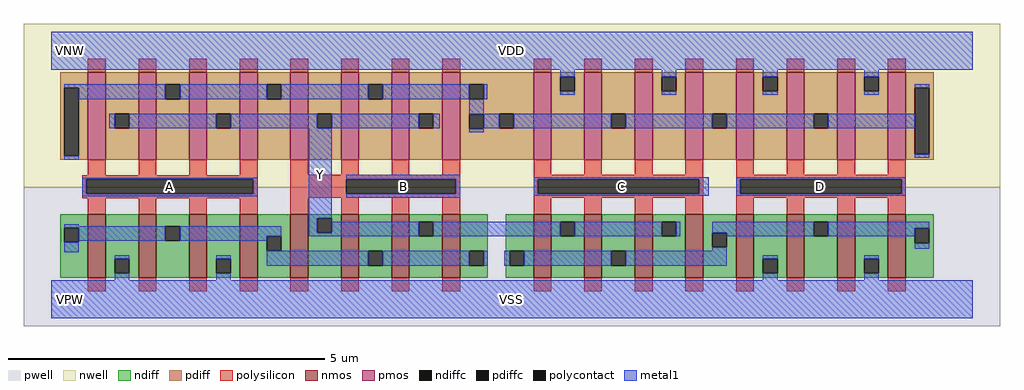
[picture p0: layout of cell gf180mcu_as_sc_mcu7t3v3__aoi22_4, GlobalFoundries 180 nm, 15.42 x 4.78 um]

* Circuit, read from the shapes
.subckt gf180mcu_as_sc_mcu7t3v3__aoi22_4 VDD VNW VPW VSS Y A B C D
XM1 VSS A n1 VPW nfet_03v3 w=1u l=0.28u m=4
XM2 Y B n1 VPW nfet_03v3 w=1u l=0.28u m=4
XM3 Y C n2 VPW nfet_03v3 w=1u l=0.28u m=4
XM4 VSS D n2 VPW nfet_03v3 w=1u l=0.28u m=4
XM5 Y A n3 VNW pfet_03v3 w=1.38u l=0.28u m=4
XM6 Y B n3 VNW pfet_03v3 w=1.38u l=0.28u m=4
XM7 VDD C n3 VNW pfet_03v3 w=1.38u l=0.28u m=4
XM8 VDD D n3 VNW pfet_03v3 w=1.38u l=0.28u m=4
.ends

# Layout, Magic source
magic
tech gf180mcuD
magscale 1 10
<< nwell >>
rect -86 354 2998 870
<< pwell >>
rect -86 -86 2998 354
<< nmos >>
rect 116 68 172 268
rect 276 68 332 268
rect 436 68 492 268
rect 596 68 652 268
rect 756 68 812 268
rect 916 68 972 268
rect 1076 68 1132 268
rect 1236 68 1292 268
rect 1524 68 1580 268
rect 1684 68 1740 268
rect 1844 68 1900 268
rect 2004 68 2060 268
rect 2164 68 2220 268
rect 2324 68 2380 268
rect 2484 68 2540 268
rect 2644 68 2700 268
<< pmos >>
rect 116 440 172 716
rect 276 440 332 716
rect 436 440 492 716
rect 596 440 652 716
rect 756 440 812 716
rect 916 440 972 716
rect 1076 440 1132 716
rect 1236 440 1292 716
rect 1524 440 1580 716
rect 1684 440 1740 716
rect 1844 440 1900 716
rect 2004 440 2060 716
rect 2164 440 2220 716
rect 2324 440 2380 716
rect 2484 440 2540 716
rect 2644 440 2700 716
<< ndiff >>
rect 28 225 116 268
rect 28 179 41 225
rect 87 179 116 225
rect 28 68 116 179
rect 172 127 276 268
rect 172 81 201 127
rect 247 81 276 127
rect 172 68 276 81
rect 332 230 436 268
rect 332 184 361 230
rect 407 184 436 230
rect 332 68 436 184
rect 492 127 596 268
rect 492 81 521 127
rect 567 81 596 127
rect 492 68 596 81
rect 652 198 756 268
rect 652 152 681 198
rect 727 152 756 198
rect 652 68 756 152
rect 812 255 916 268
rect 812 209 841 255
rect 887 209 916 255
rect 812 68 916 209
rect 972 152 1076 268
rect 972 106 1001 152
rect 1047 106 1076 152
rect 972 68 1076 106
rect 1132 244 1236 268
rect 1132 198 1161 244
rect 1207 198 1236 244
rect 1132 68 1236 198
rect 1292 152 1380 268
rect 1292 106 1321 152
rect 1367 106 1380 152
rect 1292 68 1380 106
rect 1436 152 1524 268
rect 1436 106 1449 152
rect 1495 106 1524 152
rect 1436 68 1524 106
rect 1580 244 1684 268
rect 1580 198 1609 244
rect 1655 198 1684 244
rect 1580 68 1684 198
rect 1740 152 1844 268
rect 1740 106 1769 152
rect 1815 106 1844 152
rect 1740 68 1844 106
rect 1900 244 2004 268
rect 1900 198 1929 244
rect 1975 198 2004 244
rect 1900 68 2004 198
rect 2060 210 2164 268
rect 2060 164 2089 210
rect 2135 164 2164 210
rect 2060 68 2164 164
rect 2220 127 2324 268
rect 2220 81 2249 127
rect 2295 81 2324 127
rect 2220 68 2324 81
rect 2380 244 2484 268
rect 2380 198 2409 244
rect 2455 198 2484 244
rect 2380 68 2484 198
rect 2540 127 2644 268
rect 2540 81 2569 127
rect 2615 81 2644 127
rect 2540 68 2644 81
rect 2700 223 2788 268
rect 2700 177 2729 223
rect 2775 177 2788 223
rect 2700 68 2788 177
<< pdiff >>
rect 28 667 116 716
rect 28 453 41 667
rect 87 453 116 667
rect 28 440 116 453
rect 172 586 276 716
rect 172 540 201 586
rect 247 540 276 586
rect 172 440 276 540
rect 332 678 436 716
rect 332 632 361 678
rect 407 632 436 678
rect 332 440 436 632
rect 492 586 596 716
rect 492 540 521 586
rect 567 540 596 586
rect 492 440 596 540
rect 652 678 756 716
rect 652 632 681 678
rect 727 632 756 678
rect 652 440 756 632
rect 812 586 916 716
rect 812 540 841 586
rect 887 540 916 586
rect 812 440 916 540
rect 972 678 1076 716
rect 972 632 1001 678
rect 1047 632 1076 678
rect 972 440 1076 632
rect 1132 586 1236 716
rect 1132 540 1161 586
rect 1207 540 1236 586
rect 1132 440 1236 540
rect 1292 678 1524 716
rect 1292 632 1321 678
rect 1367 632 1524 678
rect 1292 586 1524 632
rect 1292 584 1415 586
rect 1292 538 1321 584
rect 1367 540 1415 584
rect 1461 540 1524 586
rect 1367 538 1524 540
rect 1292 440 1524 538
rect 1580 703 1684 716
rect 1580 657 1609 703
rect 1655 657 1684 703
rect 1580 440 1684 657
rect 1740 586 1844 716
rect 1740 540 1769 586
rect 1815 540 1844 586
rect 1740 440 1844 540
rect 1900 703 2004 716
rect 1900 657 1929 703
rect 1975 657 2004 703
rect 1900 440 2004 657
rect 2060 586 2164 716
rect 2060 540 2089 586
rect 2135 540 2164 586
rect 2060 440 2164 540
rect 2220 703 2324 716
rect 2220 657 2249 703
rect 2295 657 2324 703
rect 2220 440 2324 657
rect 2380 586 2484 716
rect 2380 540 2409 586
rect 2455 540 2484 586
rect 2380 440 2484 540
rect 2540 703 2644 716
rect 2540 657 2569 703
rect 2615 657 2644 703
rect 2540 440 2644 657
rect 2700 667 2788 716
rect 2700 458 2729 667
rect 2775 458 2788 667
rect 2700 440 2788 458
<< ndiffc >>
rect 41 179 87 225
rect 201 81 247 127
rect 361 184 407 230
rect 521 81 567 127
rect 681 152 727 198
rect 841 209 887 255
rect 1001 106 1047 152
rect 1161 198 1207 244
rect 1321 106 1367 152
rect 1449 106 1495 152
rect 1609 198 1655 244
rect 1769 106 1815 152
rect 1929 198 1975 244
rect 2089 164 2135 210
rect 2249 81 2295 127
rect 2409 198 2455 244
rect 2569 81 2615 127
rect 2729 177 2775 223
<< pdiffc >>
rect 41 453 87 667
rect 201 540 247 586
rect 361 632 407 678
rect 521 540 567 586
rect 681 632 727 678
rect 841 540 887 586
rect 1001 632 1047 678
rect 1161 540 1207 586
rect 1321 632 1367 678
rect 1321 538 1367 584
rect 1415 540 1461 586
rect 1609 657 1655 703
rect 1769 540 1815 586
rect 1929 657 1975 703
rect 2089 540 2135 586
rect 2249 657 2295 703
rect 2409 540 2455 586
rect 2569 657 2615 703
rect 2729 458 2775 667
<< polysilicon >>
rect 116 716 172 760
rect 276 716 332 760
rect 436 716 492 760
rect 596 716 652 760
rect 756 716 812 760
rect 916 716 972 760
rect 1076 716 1132 760
rect 1236 716 1292 760
rect 1524 716 1580 760
rect 1684 716 1740 760
rect 1844 716 1900 760
rect 2004 716 2060 760
rect 2164 716 2220 760
rect 2324 716 2380 760
rect 2484 716 2540 760
rect 2644 716 2700 760
rect 116 391 172 440
rect 276 391 332 440
rect 436 391 492 440
rect 596 391 652 440
rect 98 378 652 391
rect 98 332 111 378
rect 639 332 652 378
rect 98 319 652 332
rect 116 268 172 319
rect 276 268 332 319
rect 436 268 492 319
rect 596 268 652 319
rect 756 392 812 440
rect 916 392 972 440
rect 1076 392 1132 440
rect 1236 392 1292 440
rect 756 379 1292 392
rect 756 333 933 379
rect 1279 333 1292 379
rect 756 320 1292 333
rect 756 268 812 320
rect 916 268 972 320
rect 1076 268 1132 320
rect 1236 268 1292 320
rect 1524 392 1580 440
rect 1684 392 1740 440
rect 1844 392 1900 440
rect 2004 392 2060 440
rect 1524 379 2060 392
rect 1524 333 1537 379
rect 2047 333 2060 379
rect 1524 320 2060 333
rect 1524 268 1580 320
rect 1684 268 1740 320
rect 1844 268 1900 320
rect 2004 268 2060 320
rect 2164 392 2220 440
rect 2324 392 2380 440
rect 2484 392 2540 440
rect 2644 392 2700 440
rect 2164 379 2700 392
rect 2164 333 2177 379
rect 2687 333 2700 379
rect 2164 320 2700 333
rect 2164 268 2220 320
rect 2324 268 2380 320
rect 2484 268 2540 320
rect 2644 268 2700 320
rect 116 24 172 68
rect 276 24 332 68
rect 436 24 492 68
rect 596 24 652 68
rect 756 24 812 68
rect 916 24 972 68
rect 1076 24 1132 68
rect 1236 24 1292 68
rect 1524 24 1580 68
rect 1684 24 1740 68
rect 1844 24 1900 68
rect 2004 24 2060 68
rect 2164 24 2220 68
rect 2324 24 2380 68
rect 2484 24 2540 68
rect 2644 24 2700 68
<< polycontact >>
rect 111 332 639 378
rect 933 333 1279 379
rect 1537 333 2047 379
rect 2177 333 2687 379
<< metal1 >>
rect 0 724 2912 844
rect 1609 703 1655 724
rect 41 667 361 678
rect 87 632 361 667
rect 407 632 681 678
rect 727 632 1001 678
rect 1047 632 1321 678
rect 1367 632 1378 678
rect 1609 646 1655 657
rect 1929 703 1975 724
rect 1929 646 1975 657
rect 2249 703 2295 724
rect 2249 646 2295 657
rect 2569 703 2615 724
rect 2569 646 2615 657
rect 2729 667 2775 678
rect 1321 586 1367 632
rect 183 540 201 586
rect 247 540 521 586
rect 567 540 841 586
rect 887 540 1161 586
rect 1207 540 1227 586
rect 1321 584 1415 586
rect 41 440 87 453
rect 98 378 652 384
rect 98 332 111 378
rect 639 332 652 378
rect 98 325 652 332
rect 814 255 887 540
rect 1367 540 1415 584
rect 1461 540 1769 586
rect 1815 540 2089 586
rect 2135 540 2409 586
rect 2455 540 2729 586
rect 1321 527 1367 538
rect 2729 447 2775 458
rect 933 379 1292 392
rect 1279 333 1292 379
rect 933 320 1292 333
rect 1524 379 2078 385
rect 1524 333 1537 379
rect 2047 333 2078 379
rect 1524 326 2078 333
rect 2164 379 2700 385
rect 2164 333 2177 379
rect 2687 333 2700 379
rect 2164 326 2700 333
rect 41 230 87 237
rect 41 225 361 230
rect 87 184 361 225
rect 407 198 727 230
rect 814 209 841 255
rect 887 209 1161 244
rect 814 198 1161 209
rect 1207 198 1609 244
rect 1655 198 1929 244
rect 1975 198 1988 244
rect 2089 210 2409 244
rect 407 184 681 198
rect 41 148 87 179
rect 2135 198 2409 210
rect 2455 223 2775 244
rect 2455 198 2729 223
rect 2089 152 2135 164
rect 2729 159 2775 177
rect 201 127 247 138
rect 201 60 247 81
rect 521 127 567 138
rect 681 106 1001 152
rect 1047 106 1321 152
rect 1367 106 1379 152
rect 1432 106 1449 152
rect 1495 106 1769 152
rect 1815 106 2135 152
rect 2249 127 2295 138
rect 521 60 567 81
rect 2249 60 2295 81
rect 2569 127 2615 138
rect 2569 60 2615 81
rect 0 -60 2912 60
<< labels >>
flabel metal1 s 0 724 2912 844 0 FreeSans 400 0 0 0 VDD
port 1 nsew power bidirectional abutment
flabel metal1 s 0 -60 2912 60 0 FreeSans 400 0 0 0 VSS
port 4 nsew ground bidirectional abutment
flabel nwell s 10 734 110 834 0 FreeSans 400 0 0 0 VNW
port 2 nsew power bidirectional
flabel pwell s 10 -50 110 50 0 FreeSans 400 0 0 0 VPW
port 3 nsew ground bidirectional
flabel metal1 814 198 887 586 0 FreeSans 200 0 0 0 Y
port 5 nsew signal output
flabel metal1 98 325 652 384 0 FreeSans 200 0 0 0 A
port 6 nsew signal input
flabel metal1 933 320 1292 392 0 FreeSans 200 0 0 0 B
port 7 nsew signal input
flabel metal1 1524 326 2078 385 0 FreeSans 200 0 0 0 C
port 8 nsew signal input
flabel metal1 2164 326 2700 385 0 FreeSans 200 0 0 0 D
port 9 nsew signal input
<< properties >>
string FIXED_BBOX 0 0 2912 784
string LEFclass CORE
string LEFsite unithd
string LEFsymmetry X Y
string MASKHINTS_NPLUS -16 -46 2928 354
string MASKHINTS_PPLUS -16 354 2928 830
<< end >>
